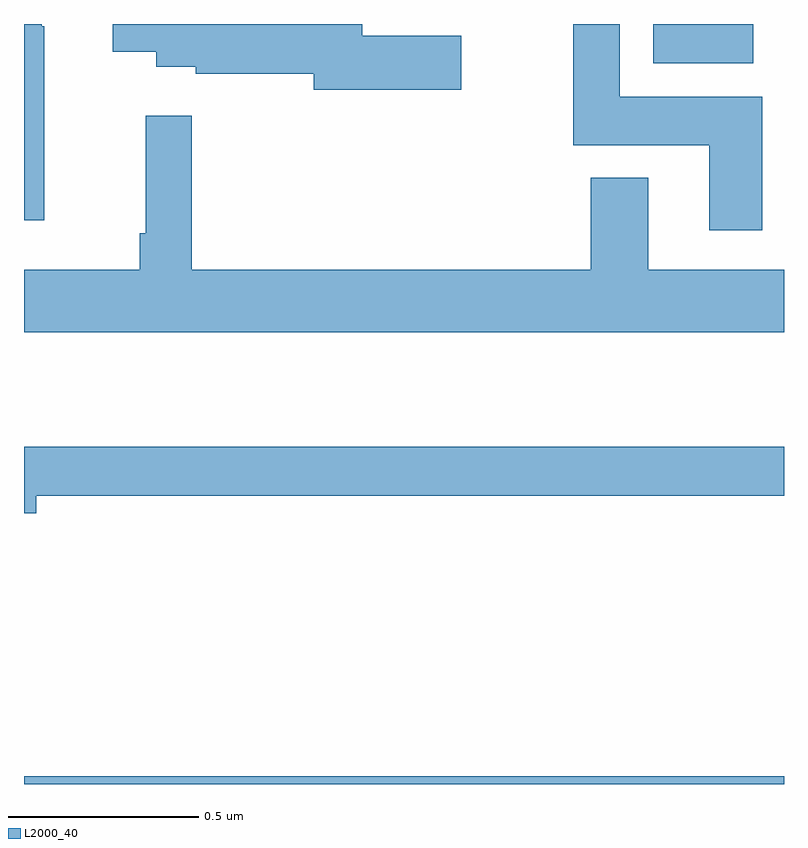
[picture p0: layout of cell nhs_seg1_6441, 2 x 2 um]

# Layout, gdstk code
import gdstk
lib = gdstk.Library(unit=1e-6, precision=1e-09)
def R(c, l, rs):  # rectangles x0, y0, x1, y1
    for r in rs: c.add(gdstk.rectangle(r[:2], r[2:], *l))
def P(c, l, *ps):  # polygons
    for p in ps: c.add(gdstk.Polygon(p, *l))
L2000_40 = (2000, 40)

nhs_seg1_6441 = lib.new_cell('nhs_seg1_6441')
R(nhs_seg1_6441, L2000_40, [(191,561.199,193,561.22), (192.656,563.096,192.919,563.199)])
P(nhs_seg1_6441, L2000_40, [(192.943,563.008),(192.568,563.008),(192.568,563.199),(192.446,563.199),(192.446,562.88),(192.803,562.88),(192.803,562.656),(192.943,562.656)],
  [(191.053,563.193),(191.047,563.193),(191.047,563.199),(191,563.199),(191,562.683),(191.053,562.683)],
  [(192.151,563.168),(191.89,563.168),(191.89,563.199),(191.234,563.199),(191.234,563.126),(191.348,563.126),(191.348,563.087),(191.452,563.087),(191.452,563.068),(191.762,563.068),(191.762,563.026),(192.151,563.026)],
  [(193,562.552),(192.643,562.552),(192.643,562.795),(192.491,562.795),(192.491,562.552),(191.441,562.552),(191.441,562.957),(191.32,562.957),(191.32,562.648),(191.305,562.648),(191.305,562.552),(191,562.552),(191,562.388),(193,562.388)],
  [(191.032,561.958),(193,561.958),(193,562.087),(191,562.087),(191,561.911),(191.032,561.911)])

lib.write_gds('nhs_seg1_6441.gds')
